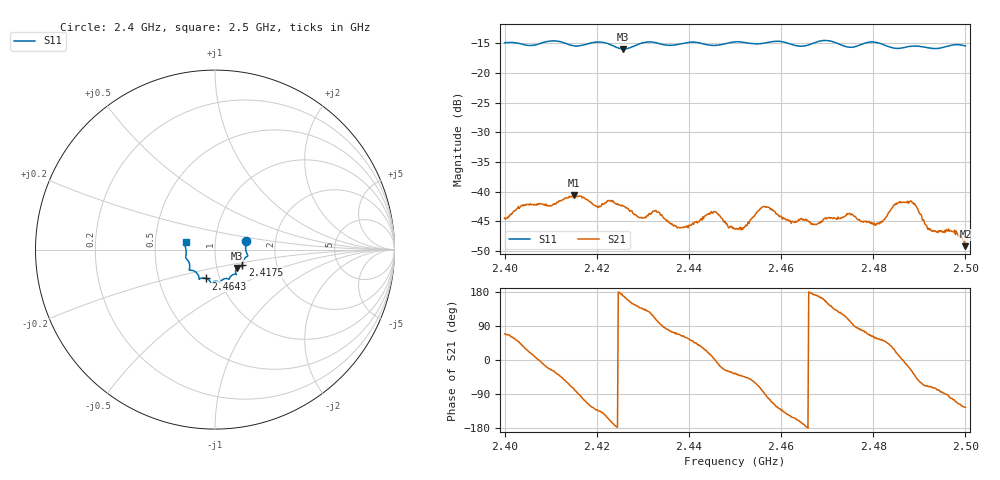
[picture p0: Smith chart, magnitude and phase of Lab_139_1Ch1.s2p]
# Hz S RI R 50
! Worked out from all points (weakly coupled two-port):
!   601 points, 2.4 GHz to 2.5 GHz, reference 50 ohm
!   highest |S21| = -40.64 dB at 2.415 GHz (marker M1); lowest = -49.2 dB at 2.5 GHz (marker M2)
!   lowest |S11| = -15.9 dB at 2.4257 GHz (marker M3), VSWR 1.38, Z = 62.4 - j13.1 ohm
!   |S11| at or under -10 dB: start of sweep to end of sweep
!   S12 and S22 are empty: the file has one direction only
!   S11 on the Smith chart (normalised r, x): 2.4 GHz: 1.41, +0.14; 2.4175 GHz: 1.34, -0.23; 2.4643 GHz: 0.86, -0.28; 2.5 GHz: 0.72, +0.06
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2.4e9  0.1733 0.0486  0.00216 0.00558  0 0  0 0
2.404167e9  0.1721 0.0235  0.00638 0.0044  0 0  0 0
2.415e9  0.1601 -0.0556  0.0023 -0.009  0 0  0 0
2.416667e9  0.1533 -0.0747  -0.00127 -0.00907  0 0  0 0
2.4175e9  0.1521 -0.0843  -0.00269 -0.00826  0 0  0 0
2.425667e9  0.1224 -0.1023  -0.00745 0.00142  0 0  0 0
2.4295e9  0.1165 -0.1341  -0.00447 0.00408  0 0  0 0
2.433333e9  0.1132 -0.1374  -0.00118 0.00665  0 0  0 0
2.438e9  0.0824 -0.1545  0.00197 0.00456  0 0  0 0
2.445833e9  0.0486 -0.1642  0.00673 -0.000219  0 0  0 0
2.45e9  0.0288 -0.1808  0.00397 -0.00275  0 0  0 0
2.456333e9  -0.00884 -0.1786  0.000345 -0.00748  0 0  0 0
2.464333e9  -0.05 -0.1608  -0.00576 -0.00152  0 0  0 0
2.466667e9  -0.0762 -0.1592  -0.00531 0.000344  0 0  0 0
2.474833e9  -0.1045 -0.1277  -0.00156 0.00638  0 0  0 0
2.480833e9  -0.1429 -0.1103  0.00296 0.00445  0 0  0 0
2.483333e9  -0.1407 -0.0899  0.00491 0.00453  0 0  0 0
2.485333e9  -0.1459 -0.0686  0.00778 0.00203  0 0  0 0
2.4885e9  -0.162 -0.0474  0.00691 -0.00416  0 0  0 0
2.492333e9  -0.161 -0.022  0.00157 -0.0046  0 0  0 0
2.497667e9  -0.1701 0.0307  -0.00131 -0.00456  0 0  0 0
2.5e9  -0.1637 0.0426  -0.00199 -0.00285  0 0  0 0
